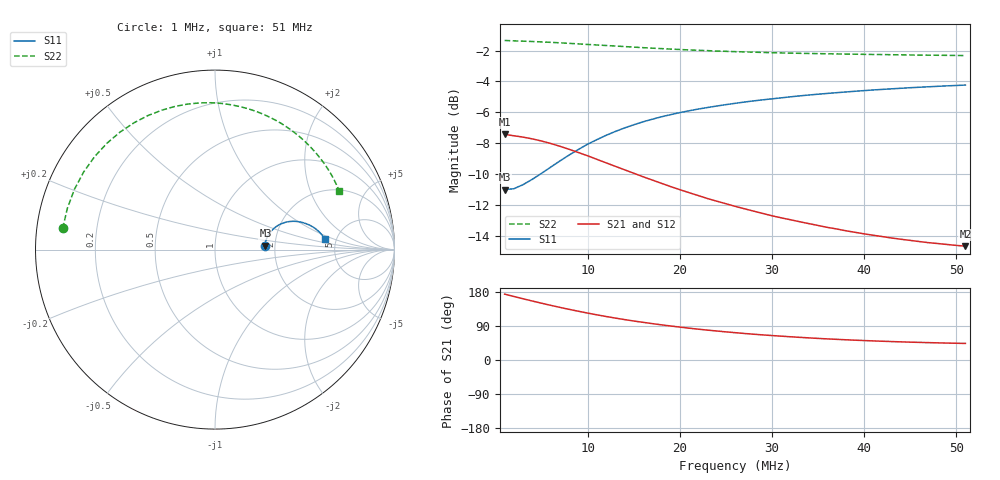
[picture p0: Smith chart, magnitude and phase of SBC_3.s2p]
# MHz S RI R 50
! S-Parameters data
! Freq  reS11  imS11  reS21  imS21  reS12  imS12  reS22  imS22
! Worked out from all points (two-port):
!   51 points, 1 MHz to 51 MHz, reference 50 ohm
!   highest |S21| = -7.43 dB at 1 MHz (marker M1); lowest = -14.7 dB at 51 MHz (marker M2)
!   |S21| within 3 dB of the highest: start of sweep to 17.22 MHz
!   lowest |S11| = -11.0 dB at 1 MHz (marker M3), VSWR 1.78, Z = 88.9 + j4.31 ohm
!   |S11| at or under -10 dB: start of sweep to 4.895 MHz
!   |S22| runs from -2.3 to -1.3 dB; largest |S21 - S12| = 0.0022
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1  0.2807 0.0223  -0.4226 0.0454  -0.4216 0.0449  -0.8485 0.118
2  0.2804 0.04  -0.4109 0.0901  -0.4103 0.0891  -0.8224 0.2302
3  0.2861 0.0587  -0.3952 0.1313  -0.3948 0.1301  -0.7834 0.3354
4  0.2943 0.076  -0.3746 0.1692  -0.3746 0.168  -0.7318 0.4323
5  0.3041 0.0918  -0.3501 0.2029  -0.3503 0.2015  -0.6702 0.5186
6  0.3156 0.1058  -0.3224 0.2319  -0.323 0.2304  -0.6012 0.5933
7  0.328 0.1179  -0.2929 0.2559  -0.2938 0.2545  -0.5271 0.6562
8  0.341 0.1281  -0.2625 0.2752  -0.2635 0.2738  -0.4505 0.7069
9  0.3543 0.1365  -0.2319 0.2899  -0.2332 0.2888  -0.3733 0.747
10  0.368 0.1434  -0.2016 0.3011  -0.2031 0.2994  -0.2966 0.7767
11  0.3806 0.1484  -0.1725 0.3079  -0.1744 0.3072  -0.2229 0.7978
13  0.4057 0.1549  -0.1184 0.3134  -0.1205 0.3132  -0.0847 0.8174
15  0.4284 0.1574  -0.0713 0.3101  -0.0733 0.3103  0.0374 0.8143
18  0.4585 0.1565  -0.0146 0.2948  -0.0157 0.2958  0.1866 0.7842
20  0.4756 0.1537  0.0155 0.2811  0.0147 0.2823  0.2682 0.7545
22  0.491 0.1498  0.0404 0.2663  0.0397 0.2675  0.3372 0.7211
26  0.517 0.1406  0.0764 0.2365  0.0761 0.238  0.4432 0.6515
30  0.5387 0.1296  0.0996 0.2091  0.0997 0.2106  0.5188 0.5848
35  0.562 0.1147  0.1173 0.1807  0.1177 0.1823  0.586 0.5096
39  0.5774 0.1016  0.1251 0.1621  0.1256 0.1633  0.6245 0.4559
43  0.5906 0.0877  0.1296 0.1472  0.1303 0.1484  0.6534 0.4076
51  0.6113 0.0578  0.1334 0.1275  0.1342 0.1285  0.6929 0.3247
